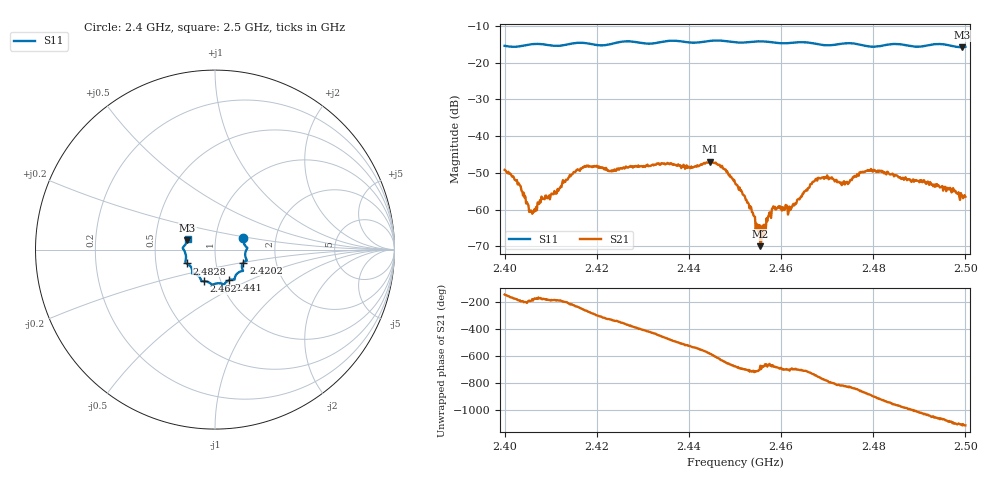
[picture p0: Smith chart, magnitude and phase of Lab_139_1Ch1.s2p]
# Hz S RI R 50
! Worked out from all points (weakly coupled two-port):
!   601 points, 2.4 GHz to 2.5 GHz, reference 50 ohm
!   highest |S21| = -46.92 dB at 2.4447 GHz (marker M1); lowest = -69.9 dB at 2.4555 GHz (marker M2)
!   lowest |S11| = -15.8 dB at 2.4993 GHz (marker M3), VSWR 1.39, Z = 36.5 + j3.89 ohm
!   |S11| at or under -10 dB: start of sweep to end of sweep
!   S12 and S22 are empty: the file has one direction only
!   S11 on the Smith chart (normalised r, x): 2.4 GHz: 1.36, +0.17; 2.4202 GHz: 1.36, -0.20; 2.441 GHz: 1.10, -0.39; 2.462 GHz: 0.84, -0.30; 2.4828 GHz: 0.72, -0.11; 2.5 GHz: 0.73, +0.09
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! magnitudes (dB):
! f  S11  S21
! 2.4 GHz  -15.4  -49.2
! 2.403 GHz  -15.6  -52.7
! 2.4058 GHz  -15.0  -60.3
! 2.4167 GHz  -14.6  -48.8
! 2.4202 GHz  -15.2  -48.3
! 2.4333 GHz  -14.5  -47.6
! 2.441 GHz  -14.5  -48.4
! 2.4447 GHz  -14.0  -46.9
! 2.45 GHz  -14.4  -52.7
! 2.453 GHz  -14.4  -58.5
! 2.4555 GHz  -14.2  -69.9
! 2.456 GHz  -14.2  -64.3
! 2.4585 GHz  -14.5  -59.6
! 2.462 GHz  -14.6  -60.1
! 2.4667 GHz  -14.6  -53.0
! 2.4695 GHz  -15.2  -51.1
! 2.4743 GHz  -14.7  -52.4
! 2.4792 GHz  -15.6  -49.3
! 2.4828 GHz  -15.1  -50.4
! 2.4833 GHz  -15.0  -50.1
! 2.4993 GHz  -15.8  -56.1
! 2.5 GHz  -15.7  -56.5
